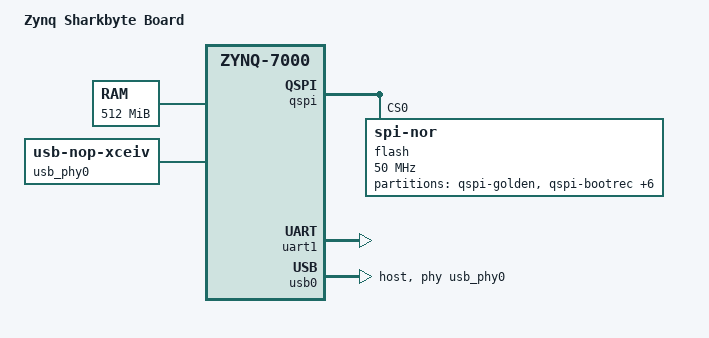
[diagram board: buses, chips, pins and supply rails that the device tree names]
/*
 * Analog Devices Inc. Sharkbyte board DTS
 *
 * Copyright (C) 2015-2025 Analog Devices Inc.
 *
 * SPDX-License-Identifier:	GPL-2.0+
 */
/dts-v1/;
#include "zynq-7000.dtsi"

/ {
	model = "Zynq Sharkbyte Board";
	compatible = "xlnx,zynq-7000";

	aliases {
		ethernet0 = &gem0;
		serial0 = &uart1;
		spi0 = &qspi;
	};

	memory {
		device_type = "memory";
		reg = <0x0 0x20000000>;
	};

	chosen {
		bootargs = "earlyprintk";
		linux,stdout-path = &uart1;
		stdout-path = &uart1;
	};

	usb_phy0: phy0 {
		compatible = "usb-nop-xceiv";
		#phy-cells = <0>;
	};

};

&qspi {
	status = "okay";
	is-dual = <0>;
	num-cs = <1>;
	flash@0 {
		compatible = "jedec,spi-nor";
		reg = <0x0>;
		spi-tx-bus-width = <1>;
		spi-rx-bus-width = <4>;
		spi-max-frequency = <50000000>;
		#address-cells = <1>;
		#size-cells = <1>;
		partition@qspi-golden {
			label = "qspi-golden";
			reg = <0x0 0x40000>; /* 256k */
		};
		partition@qspi-bootrec {
			label = "qspi-bootrec";
			reg = <0x40000 0x20000>; /* 128k */
		};
		partition@qspi-uboot-env {
			label = "qspi-uboot-env";
			reg = <0x100000 0x20000>; /* 128k */
		};
		partition@qspi-nvmfs {
			label = "qspi-nvmfs";
			reg = <0x120000 0xE0000>; /* 1M */
		};
		partition@qspi-boot-a {
			label = "qspi-boot-a";
			reg = <0x200000 0x100000>; /* 1M */
		};
		partition@qspi-boot-b {
			label = "qspi-boot-b";
			reg = <0x300000 0x100000>; /* 1M */
		};
		partition@qspi-app-a {
			label = "qspi-app-a";
			reg = <0x400000 0x1C00000>; /* 28M */
		};
		partition@qspi-app-b {
			label = "qspi-app-b";
			reg = <0x2000000 0x1C00000>; /* 28M */
		};
	};
};

&uart1 {
	status = "okay";
};

&usb0 {
	status = "okay";
	dr_mode = "host";
	usb-phy = <&usb_phy0>;
};
